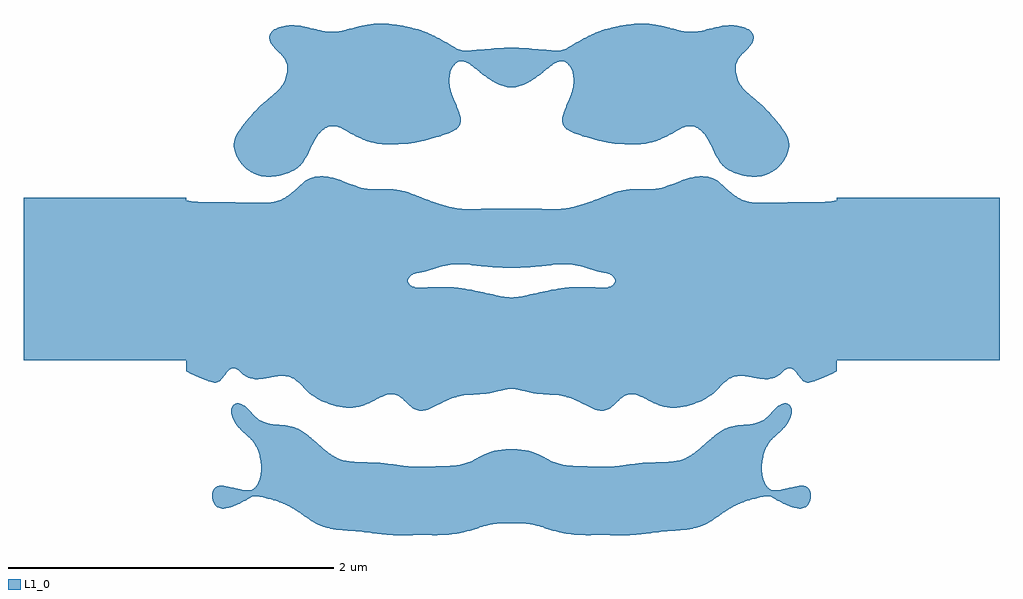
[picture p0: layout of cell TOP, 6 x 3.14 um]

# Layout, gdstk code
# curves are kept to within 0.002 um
import gdstk
lib = gdstk.Library(unit=1e-6, precision=1e-09)
def R(c, l, rs):  # rectangles x0, y0, x1, y1
    for r in rs: c.add(gdstk.rectangle(r[:2], r[2:], *l))
def P(c, l, *ps):  # polygons
    for p in ps: c.add(gdstk.Polygon(p, *l))
L1_0 = (1, 0)

top = lib.new_cell('TOP')
R(top, L1_0, [(-3,-0.5,-2,0.5), (2,-0.5,3,0.5)])
P(top, L1_0, [(-0.556,-0.811),(-0.576,-0.808),(-0.596,-0.8),(-0.637,-0.767),(-0.637,-0.016),(-0.633,-0.027),(-0.623,-0.038),(-0.596,-0.05),(-0.566,-0.053),(-0.386,-0.05),(-0.326,-0.055),(-0.245,-0.067),(-0.055,-0.109),(-0.005,-0.114),(0.055,-0.109),(0.245,-0.067),(0.346,-0.053),(0.346,-0.727),(0.295,-0.716),(0.155,-0.704),(0.025,-0.677),(-0.005,-0.675),(-0.155,-0.704),(-0.295,-0.716),(-0.336,-0.724),(-0.386,-0.741),(-0.516,-0.804)],
  [(-0.637,-0.005),(-0.637,0.532),(-0.446,0.462),(-0.376,0.442),(-0.307,0.431),(0.295,0.43),(0.346,0.436),(0.346,0.092),(0.285,0.091),(0.145,0.074),(0.055,0.07),(-0.115,0.072),(-0.285,0.091),(-0.346,0.092),(-0.426,0.079),(-0.516,0.051),(-0.596,0.032),(-0.623,0.016)],
  [(0.546,-0.811),(0.496,-0.796),(0.406,-0.75),(0.346,-0.727),(0.346,-0.053),(0.386,-0.05),(0.566,-0.053),(0.596,-0.05),(0.626,-0.035),(0.636,-0.021),(0.637,-0.005),(0.623,0.016),(0.596,0.032),(0.516,0.051),(0.426,0.079),(0.346,0.092),(0.346,0.436),(0.446,0.462),(0.616,0.525),(0.686,0.546),(0.746,0.552),(0.856,0.551),(0.886,0.554),(0.946,0.568),(1.077,0.616),(1.077,-0.781),(0.997,-0.791),(0.936,-0.784),(0.876,-0.763),(0.776,-0.715),(0.736,-0.707),(0.716,-0.71),(0.696,-0.718),(0.666,-0.74),(0.626,-0.778),(0.596,-0.8),(0.576,-0.808)],
  [(1.077,-0.78),(1.077,0.616),(1.117,0.626),(1.157,0.631),(1.208,0.628),(1.227,0.623),(1.263,0.606),(1.351,0.529),(1.397,0.498),(1.437,0.48),(1.487,0.469),(1.658,0.469),(1.738,0.473),(1.888,0.471),(1.938,0.474),(2,0.484),(2,-0.566),(1.918,-0.607),(1.864,-0.628),(1.828,-0.637),(1.808,-0.635),(1.795,-0.628),(1.783,-0.617),(1.738,-0.561),(1.718,-0.549),(1.708,-0.548),(1.688,-0.554),(1.628,-0.602),(1.587,-0.614),(1.527,-0.612),(1.427,-0.596),(1.397,-0.596),(1.367,-0.601),(1.327,-0.621),(1.297,-0.647),(1.247,-0.698),(1.193,-0.737),(1.147,-0.759)],
  [(-1.077,-0.78),(-1.147,-0.759),(-1.193,-0.737),(-1.247,-0.698),(-1.297,-0.647),(-1.327,-0.621),(-1.367,-0.601),(-1.397,-0.596),(-1.427,-0.596),(-1.527,-0.612),(-1.587,-0.614),(-1.628,-0.602),(-1.688,-0.554),(-1.708,-0.548),(-1.718,-0.549),(-1.738,-0.561),(-1.783,-0.617),(-1.795,-0.628),(-1.808,-0.635),(-1.828,-0.637),(-1.858,-0.63),(-1.918,-0.607),(-2,-0.566),(-2,0.484),(-1.938,0.474),(-1.888,0.471),(-1.738,0.473),(-1.658,0.469),(-1.487,0.469),(-1.437,0.48),(-1.397,0.498),(-1.351,0.529),(-1.263,0.606),(-1.227,0.623),(-1.208,0.628),(-1.157,0.631),(-1.117,0.626),(-1.077,0.616)],
  [(-0.997,-0.791),(-1.077,-0.781),(-1.077,0.616),(-0.946,0.568),(-0.886,0.554),(-0.856,0.551),(-0.726,0.551),(-0.686,0.546),(-0.637,0.532),(-0.637,-0.767),(-0.666,-0.74),(-0.696,-0.718),(-0.716,-0.71),(-0.736,-0.707),(-0.776,-0.715),(-0.906,-0.775),(-0.956,-0.788)],
  [(1.768,-1.411),(1.726,-1.403),(1.696,-1.392),(1.587,-1.337),(1.587,-1.292),(1.607,-1.3),(1.638,-1.299),(1.778,-1.27),(1.798,-1.271),(1.82,-1.282),(1.83,-1.293),(1.84,-1.315),(1.84,-1.348),(1.834,-1.37),(1.821,-1.392),(1.808,-1.403),(1.788,-1.41)],
  [(1.587,-1.001),(1.587,-0.834),(1.627,-0.791),(1.648,-0.775),(1.668,-0.766),(1.698,-0.767),(1.714,-0.78),(1.722,-0.802),(1.72,-0.835),(1.708,-0.868),(1.698,-0.886),(1.668,-0.924),(1.617,-0.969)],
  [(-1.778,-1.411),(-1.798,-1.407),(-1.818,-1.395),(-1.828,-1.383),(-1.838,-1.359),(-1.84,-1.315),(-1.83,-1.293),(-1.82,-1.282),(-1.798,-1.271),(-1.778,-1.27),(-1.638,-1.299),(-1.597,-1.298),(-1.597,-1.34),(-1.696,-1.392),(-1.738,-1.406)],
  [(-1.597,-0.989),(-1.668,-0.924),(-1.688,-0.9),(-1.708,-0.868),(-1.72,-0.835),(-1.722,-0.802),(-1.714,-0.78),(-1.698,-0.767),(-1.668,-0.766),(-1.648,-0.775),(-1.627,-0.791),(-1.597,-0.823)],
  [(-1.597,-1.34),(-1.597,-1.298),(-1.59,-1.293),(-1.587,-1.292),(-1.587,-1.337)],
  [(-1.587,-1.001),(-1.589,-0.999),(-1.597,-0.989),(-1.597,-0.824),(-1.587,-0.834)],
  [(1.539,-1.34),(1.539,-1.184),(1.547,-1.227),(1.557,-1.254),(1.577,-1.284),(1.587,-1.292),(1.587,-1.337),(1.567,-1.335)],
  [(1.539,-1.151),(1.539,-0.872),(1.563,-0.857),(1.587,-0.835),(1.587,-1.001),(1.567,-1.032),(1.557,-1.056),(1.547,-1.092)],
  [(-1.539,-1.34),(-1.567,-1.335),(-1.587,-1.337),(-1.587,-1.292),(-1.577,-1.284),(-1.557,-1.254),(-1.547,-1.227),(-1.539,-1.184)],
  [(-1.539,-1.151),(-1.547,-1.092),(-1.557,-1.056),(-1.567,-1.032),(-1.587,-1.001),(-1.587,-0.835),(-1.563,-0.857),(-1.539,-0.872)],
  [(-1.077,-1.54),(-1.137,-1.528),(-1.187,-1.51),(-1.237,-1.482),(-1.339,-1.413),(-1.397,-1.383),(-1.447,-1.364),(-1.539,-1.34),(-1.539,-0.872),(-1.491,-0.89),(-1.377,-0.902),(-1.347,-0.908),(-1.31,-0.922),(-1.257,-0.956),(-1.127,-1.067),(-1.077,-1.098)],
  [(-0.686,-1.575),(-0.766,-1.572),(-1.077,-1.54),(-1.077,-1.098),(-1.027,-1.116),(-0.987,-1.123),(-0.806,-1.131),(-0.616,-1.154),(-0.546,-1.155),(-0.396,-1.15),(-0.311,-1.141),(-0.271,-1.13),(-0.245,-1.119),(-0.165,-1.077),(-0.135,-1.065),(-0.085,-1.052),(-0.035,-1.047),(0.035,-1.047),(0.085,-1.052),(0.135,-1.065),(0.135,-1.511),(0.065,-1.502),(-0.065,-1.502),(-0.145,-1.513),(-0.255,-1.547),(-0.346,-1.567),(-0.456,-1.574)],
  [(0.666,-1.575),(0.456,-1.574),(0.346,-1.567),(0.285,-1.555),(0.135,-1.511),(0.135,-1.065),(0.165,-1.077),(0.245,-1.119),(0.271,-1.13),(0.311,-1.141),(0.396,-1.15),(0.546,-1.155),(0.616,-1.154),(0.806,-1.131),(0.987,-1.123),(1.047,-1.11),(1.087,-1.092),(1.087,-1.538),(0.766,-1.572)],
  [(1.087,-1.538),(1.087,-1.092),(1.127,-1.067),(1.257,-0.956),(1.31,-0.922),(1.347,-0.908),(1.377,-0.902),(1.491,-0.89),(1.539,-0.872),(1.539,-1.34),(1.447,-1.364),(1.397,-1.383),(1.321,-1.424),(1.207,-1.5),(1.157,-1.522)],
  [(1.477,0.629),(1.447,0.632),(1.387,0.647),(1.387,1.237),(1.407,1.194),(1.432,1.162),(1.557,1.052),(1.628,0.973),(1.678,0.907),(1.698,0.868),(1.704,0.846),(1.705,0.802),(1.696,0.769),(1.673,0.726),(1.638,0.685),(1.606,0.66),(1.567,0.641),(1.537,0.632)],
  [(1.387,1.338),(1.387,1.558),(1.417,1.552),(1.458,1.534),(1.481,1.512),(1.489,1.49),(1.487,1.468),(1.477,1.446),(1.45,1.413),(1.407,1.37)],
  [(-1.507,0.629),(-1.537,0.632),(-1.587,0.649),(-1.628,0.676),(-1.65,0.697),(-1.673,0.726),(-1.696,0.769),(-1.705,0.802),(-1.704,0.846),(-1.698,0.868),(-1.678,0.907),(-1.628,0.973),(-1.556,1.053),(-1.432,1.162),(-1.407,1.194),(-1.387,1.237),(-1.387,0.647),(-1.447,0.632)],
  [(-1.387,1.338),(-1.407,1.37),(-1.45,1.413),(-1.477,1.446),(-1.489,1.479),(-1.487,1.501),(-1.481,1.512),(-1.458,1.534),(-1.417,1.552),(-1.387,1.558)],
  [(0.355,0.911),(0.338,0.922),(0.318,0.944),(0.311,0.966),(0.311,0.977),(0.32,1.021),(0.356,1.107)],
  [(-0.356,0.911),(-0.356,1.107),(-0.32,1.021),(-0.311,0.977),(-0.311,0.966),(-0.318,0.944),(-0.338,0.922)],
  [(-0.005,1.178),(-0.045,1.184),(-0.1,1.206),(-0.165,1.249),(-0.235,1.305),(-0.265,1.326),(-0.285,1.336),(-0.305,1.34),(-0.326,1.336),(-0.346,1.324),(-0.356,1.313),(-0.356,1.428),(-0.315,1.409),(-0.275,1.403),(-0.125,1.417),(-0.045,1.421),(0.045,1.421),(0.125,1.417),(0.275,1.403),(0.315,1.409),(0.356,1.428),(0.356,1.313),(0.346,1.324),(0.326,1.336),(0.305,1.34),(0.285,1.336),(0.265,1.326),(0.235,1.305),(0.165,1.249),(0.1,1.206),(0.045,1.184)],
  [(1.277,0.726),(1.257,0.759),(1.217,0.841),(1.197,0.875),(1.167,0.911),(1.147,0.926),(1.127,0.936),(1.087,0.94),(1.057,0.932),(0.966,0.883),(0.896,0.851),(0.826,0.833),(0.766,0.827),(0.666,0.83),(0.56,0.846),(0.436,0.879),(0.378,0.9),(0.356,0.911),(0.356,1.108),(0.372,1.151),(0.382,1.217),(0.376,1.272),(0.356,1.313),(0.356,1.428),(0.466,1.49),(0.541,1.523),(0.626,1.548),(0.706,1.563),(0.776,1.569),(0.826,1.569),(0.886,1.564),(0.936,1.554),(1.027,1.529),(1.087,1.519),(1.117,1.519),(1.157,1.524),(1.277,1.552)],
  [(1.387,0.647),(1.357,0.658),(1.317,0.681),(1.297,0.699),(1.277,0.725),(1.277,1.552),(1.337,1.56),(1.387,1.558),(1.387,1.337),(1.38,1.315),(1.378,1.293),(1.379,1.272),(1.387,1.239)],
  [(-1.387,0.647),(-1.387,1.239),(-1.378,1.282),(-1.38,1.315),(-1.387,1.337),(-1.387,1.558),(-1.337,1.56),(-1.297,1.556),(-1.177,1.528),(-1.177,0.9),(-1.207,0.859),(-1.257,0.759),(-1.287,0.711),(-1.307,0.689),(-1.327,0.674),(-1.357,0.658)],
  [(-0.766,0.827),(-0.826,0.833),(-0.896,0.851),(-0.966,0.883),(-1.057,0.932),(-1.087,0.94),(-1.127,0.936),(-1.147,0.926),(-1.177,0.901),(-1.177,1.528),(-1.137,1.521),(-1.087,1.519),(-1.027,1.529),(-0.936,1.554),(-0.886,1.564),(-0.826,1.569),(-0.776,1.569),(-0.706,1.563),(-0.626,1.548),(-0.541,1.523),(-0.466,1.49),(-0.356,1.428),(-0.356,1.313),(-0.376,1.272),(-0.382,1.228),(-0.376,1.168),(-0.356,1.108),(-0.356,0.911),(-0.378,0.9),(-0.436,0.879),(-0.56,0.846),(-0.666,0.83)])

lib.write_gds('TOP.gds')
